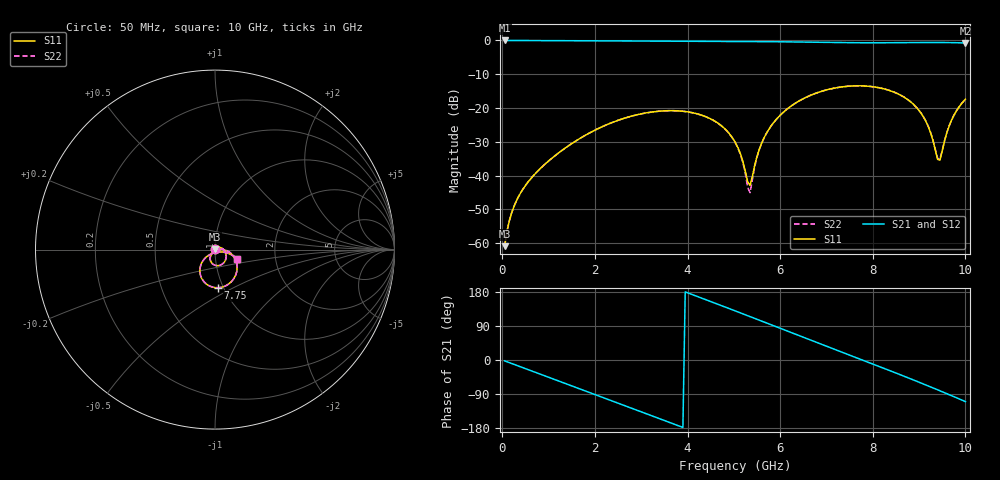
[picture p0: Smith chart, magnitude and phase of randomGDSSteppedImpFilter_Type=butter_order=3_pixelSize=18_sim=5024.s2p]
! freq	dB(S11)	phase(S11)	dB(S12)	phase(S12)
!  dB(S21)	phase(S21)	dB(S22)	phase(S22)
!S-par simulation data
#  GHz  S  DB  R 50
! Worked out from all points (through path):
!   200 points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, 50 MHz to 10 GHz, reference 50 ohm
!   highest |S21| = -0.01 dB at 50 MHz (marker M1); lowest = -0.7 dB at 10 GHz (marker M2)
!   group delay of S21, straight-line fit = 130 ps
!   lowest |S11| = -60.9 dB at 50 MHz (marker M3), VSWR 1.00, Z = 50.1 + j0.0754 ohm
!   |S11| at or under -10 dB: start of sweep to end of sweep
!   |S22| runs from -60.9 to -13.4 dB; largest |S21 - S12| = 0
!   S11 on the Smith chart (normalised r, x): 50 MHz: 1.00, +0.00; 7.75 GHz: 0.94, -0.42; 10 GHz: 1.28, -0.13
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0.05  -60.87 56.4  -0.01 -2.3  -0.01 -2.3  -60.87 56.4
0.2  -51.09 71.8  -0.02 -9.2  -0.02 -9.2  -51.09 71.7
0.5  -42.92 66.0  -0.03 -22.8  -0.03 -22.8  -42.92 65.8
1.15  -33.98 40.2  -0.06 -52.4  -0.06 -52.4  -33.98 39.7
1.75  -28.39 13.1  -0.09 -79.7  -0.09 -79.7  -28.40 12.6
2.55  -23.39 -23.6  -0.15 -116.2  -0.15 -116.2  -23.40 -24.2
3.4  -20.92 -62.1  -0.23 -155.0  -0.23 -155.0  -20.92 -62.8
3.95  -21.03 -86.6  -0.27 179.7  -0.27 179.7  -21.04 -87.4
4.45  -22.89 -108.0  -0.29 156.7  -0.29 156.7  -22.90 -109.2
5.05  -30.67 -127.2  -0.32 128.7  -0.32 128.7  -30.78 -130.3
5.35  -42.86 -53.9  -0.33 114.6  -0.33 114.6  -45.03 -50.5
5.5  -34.33 -2.7  -0.34 107.5  -0.34 107.5  -34.56 2.2
5.75  -26.42 -1.3  -0.36 95.6  -0.36 95.6  -26.44 0.8
6.15  -20.31 -15.5  -0.42 76.6  -0.42 76.6  -20.31 -14.5
6.7  -15.99 -39.3  -0.52 50.5  -0.52 50.5  -15.99 -38.7
7.25  -13.92 -63.8  -0.63 24.5  -0.63 24.5  -13.92 -63.4
7.75  -13.44 -86.0  -0.69 1.1  -0.69 1.1  -13.44 -85.6
8.35  -14.75 -112.1  -0.69 -27.1  -0.69 -27.1  -14.75 -111.8
9.05  -21.68 -138.6  -0.62 -61.1  -0.62 -61.1  -21.66 -138.0
9.45  -35.44 -62.0  -0.61 -81.2  -0.61 -81.2  -35.15 -62.7
9.7  -23.62 -15.4  -0.64 -94.1  -0.64 -94.1  -23.61 -15.8
10  -17.40 -22.4  -0.75 -109.8  -0.75 -109.8  -17.39 -22.5
